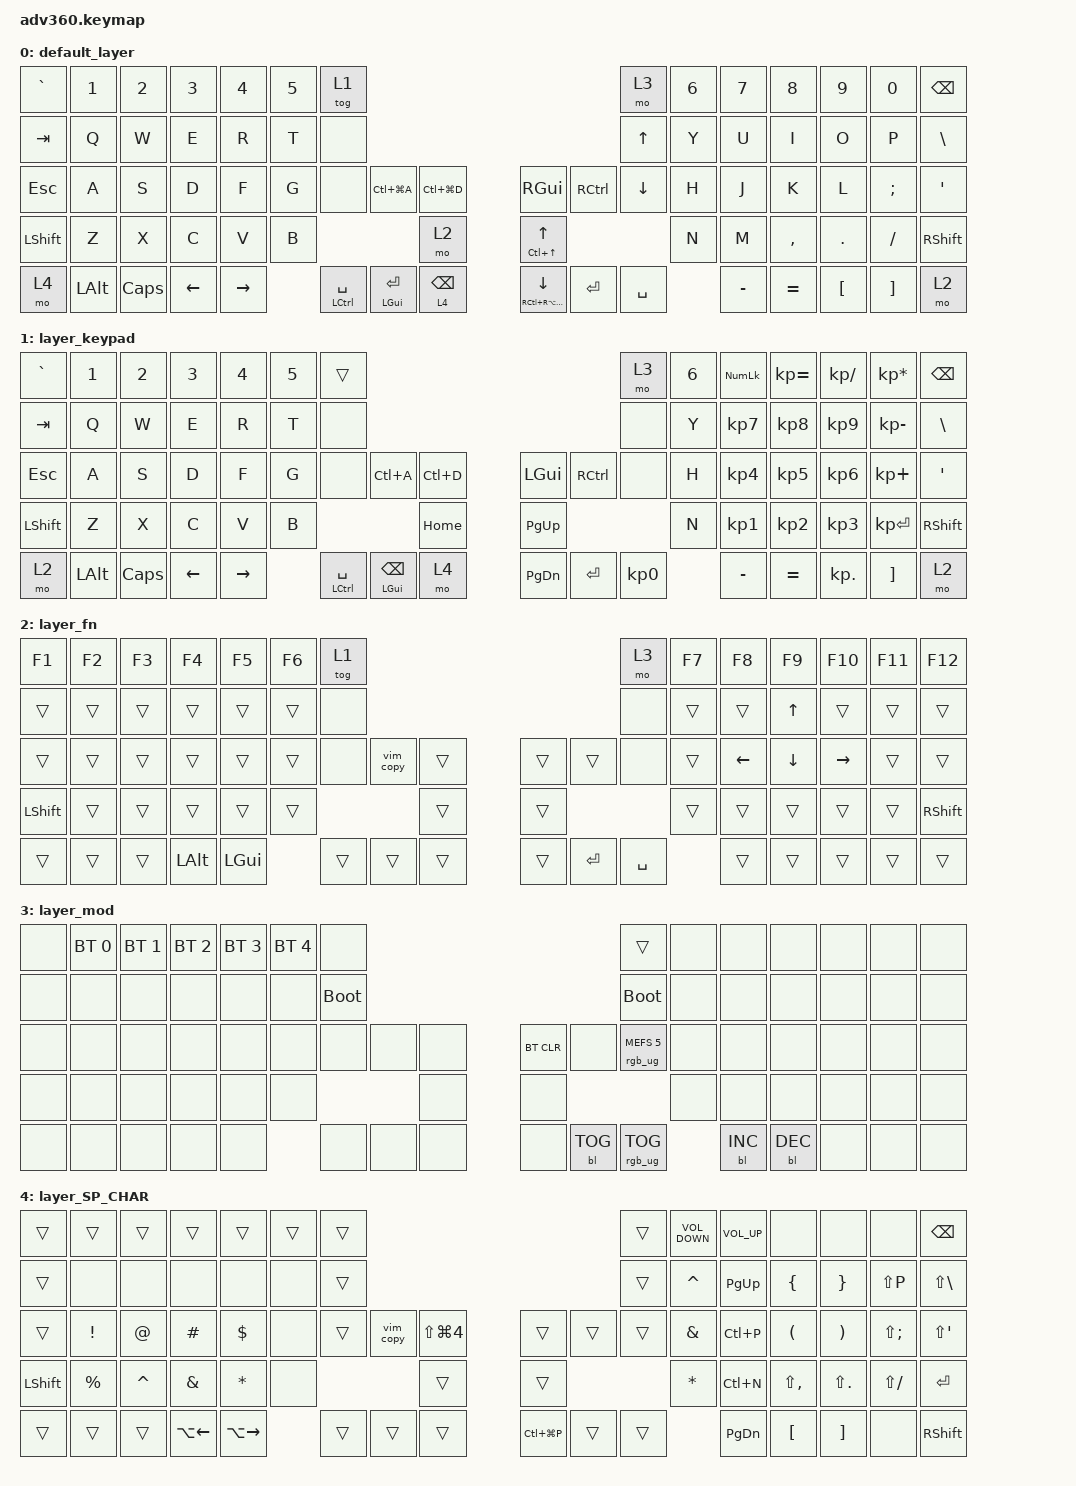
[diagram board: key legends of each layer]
/*
 * Copyright (c) 2020 The ZMK Contributors
 *
 * SPDX-License-Identifier: MIT
 */
/* THIS FILE WAS GENERATED!
 *
 * This file was generated automatically. You may or may not want to
 * edit it directly.
 */

#include <behaviors.dtsi>
#include <dt-bindings/zmk/backlight.h>
#include <dt-bindings/zmk/bt.h>
#include <dt-bindings/zmk/keys.h>
#include <dt-bindings/zmk/rgb.h>

/ {
    behaviors {
        #include "macros.dtsi"
    #include "version.dtsi"

        hm: homerow_mods {
            compatible = "zmk,behavior-hold-tap";
            label = "HOMEROW_MODS";
            #binding-cells = <2>;
            tapping-term-ms = <200>;
            quick_tap_ms = <175>;
            flavor = "tap-preferred";
            bindings = <&kp>, <&kp>;
        };
    };

    combos { compatible = "zmk,combos"; };

    macros {
        vim_copy: vim_copy {
            compatible = "zmk,behavior-macro";
            #binding-cells = <0>;
            bindings =
                <&macro_wait_time 40>,
                <&macro_tap_time 40>,
                <&kp DQT &kp ASTRK &kp Y &kp ENTER>;

            label = "VIM_COPY";
        };
    };

    keymap {
        compatible = "zmk,keymap";

        default_layer {
            bindings = <
&kp GRAVE  &kp N1    &kp N2    &kp N3    &kp N4     &kp N5  &tog 1                                                                                      &mo 3      &kp N6  &kp N7     &kp N8     &kp N9    &kp N0    &kp BSPC
&kp TAB    &kp Q     &kp W     &kp E     &kp R      &kp T   &none                                                                                       &kp UP     &kp Y   &kp U      &kp I      &kp O     &kp P     &kp BSLH
&kp ESC    &kp A     &kp S     &kp D     &kp F      &kp G   &none            &kp LC(LG(A))  &kp LC(LG(D))        &kp RGUI                   &kp RCTRL   &kp DOWN   &kp H   &kp J      &kp K      &kp L     &kp SEMI  &kp SQT
&kp LSHFT  &kp Z     &kp X     &kp C     &kp V      &kp B                                   &mo 2                &mt LC(UP) UP                                     &kp N   &kp M      &kp COMMA  &kp DOT   &kp FSLH  &kp RSHFT
&mo 4      &kp LALT  &kp CAPS  &kp LEFT  &kp RIGHT          &mt LCTRL SPACE  &mt LGUI RET   &lt 4 BACKSPACE      &mt RC(RA(RS(RGUI))) DOWN  &kp RETURN  &kp SPACE          &kp MINUS  &kp EQUAL  &kp LBKT  &kp RBKT  &mo 2
            >;
        };

        layer_keypad {
            bindings = <
&kp GRAVE  &kp N1    &kp N2    &kp N3    &kp N4     &kp N5  &trans                                                                     &mo 3      &kp N6  &kp KP_NUM  &kp KP_EQUAL  &kp KP_DIVIDE  &kp KP_MULTIPLY  &kp BSPC
&kp TAB    &kp Q     &kp W     &kp E     &kp R      &kp T   &none                                                                      &none      &kp Y   &kp KP_N7   &kp KP_N8     &kp KP_N9      &kp KP_MINUS     &kp BSLH
&kp ESC    &kp A     &kp S     &kp D     &kp F      &kp G   &none            &kp LC(A)           &kp LC(D)      &kp LGUI   &kp RCTRL   &none      &kp H   &kp KP_N4   &kp KP_N5     &kp KP_N6      &kp KP_PLUS      &kp SQT
&kp LSHFT  &kp Z     &kp X     &kp C     &kp V      &kp B                                        &kp HOME       &kp PG_UP                         &kp N   &kp KP_N1   &kp KP_N2     &kp KP_N3      &kp KP_ENTER     &kp RSHFT
&mo 2      &kp LALT  &kp CAPS  &kp LEFT  &kp RIGHT          &mt LCTRL SPACE  &mt LGUI BACKSPACE  &mo 4          &kp PG_DN  &kp RETURN  &kp KP_N0          &kp MINUS   &kp EQUAL     &kp KP_DOT     &kp RBKT         &mo 2
            >;
        };

        layer_fn {
            bindings = <
&kp F1     &kp F2  &kp F3  &kp F4        &kp F5    &kp F6  &tog 1                                            &mo 3      &kp F7  &kp F8    &kp F9    &kp F10    &kp F11  &kp F12
&trans     &trans  &trans  &trans        &trans    &trans  &none                                             &none      &trans  &trans    &kp UP    &trans     &trans   &trans
&trans     &trans  &trans  &trans        &trans    &trans  &none   &vim_copy  &trans      &trans  &trans     &none      &trans  &kp LEFT  &kp DOWN  &kp RIGHT  &trans   &trans
&kp LSHFT  &trans  &trans  &trans        &trans    &trans                     &trans      &trans                        &trans  &trans    &trans    &trans     &trans   &kp RSHFT
&trans     &trans  &trans  &kp LEFT_ALT  &kp LGUI          &trans  &trans     &trans      &trans  &kp ENTER  &kp SPACE          &trans    &trans    &trans     &trans   &trans
            >;
        };

        layer_mod {
            bindings = <
&none  &bt BT_SEL 0  &bt BT_SEL 1  &bt BT_SEL 2  &bt BT_SEL 3  &bt BT_SEL 4  &none                                                  &trans                  &none  &none       &none       &none  &none  &none
&none  &none         &none         &none         &none         &none         &bootloader                                            &bootloader             &none  &none       &none       &none  &none  &none
&none  &none         &none         &none         &none         &none         &none        &none  &none      &bt BT_CLR  &none       &rgb_ug RGB_MEFS_CMD 5  &none  &none       &none       &none  &none  &none
&none  &none         &none         &none         &none         &none                             &none      &none                                           &none  &none       &none       &none  &none  &none
&none  &none         &none         &none         &none                       &none        &none  &none      &none       &bl BL_TOG  &rgb_ug RGB_TOG                &bl BL_INC  &bl BL_DEC  &none  &none  &none
            >;
        };

        layer_SP_CHAR {
            bindings = <
&trans     &trans     &trans     &trans        &trans         &trans  &trans                                                              &trans  &kp C_VOLUME_DOWN  &kp C_VOL_UP   &none                 &none                  &none         &kp BACKSPACE
&trans     &none      &none      &none         &none          &none   &trans                                                              &trans  &kp CARET          &kp PAGE_UP    &kp LEFT_BRACE        &kp RIGHT_BRACE        &kp LS(P)     &kp LS(BACKSLASH)
&trans     &kp EXCL   &kp AT     &kp HASH      &kp DOLLAR     &none   &trans  &vim_copy  &kp LS(LG(NUMBER_4))      &trans         &trans  &trans  &kp AMPS           &kp LC(P)      &kp LEFT_PARENTHESIS  &kp RIGHT_PARENTHESIS  &kp LS(SEMI)  &kp LS(SQT)
&kp LSHFT  &kp PRCNT  &kp CARET  &kp AMPS      &kp ASTRK      &none                      &trans                    &trans                         &kp ASTRK          &kp LC(N)      &kp LS(COMMA)         &kp LS(DOT)            &kp LS(FSLH)  &kp ENTER
&trans     &trans     &trans     &kp LA(LEFT)  &kp LA(RIGHT)          &trans  &trans     &trans                    &kp LC(LG(P))  &trans  &trans                     &kp PAGE_DOWN  &kp LEFT_BRACKET      &kp RIGHT_BRACKET      &none         &kp RSHFT
            >;
        };
    };
};
